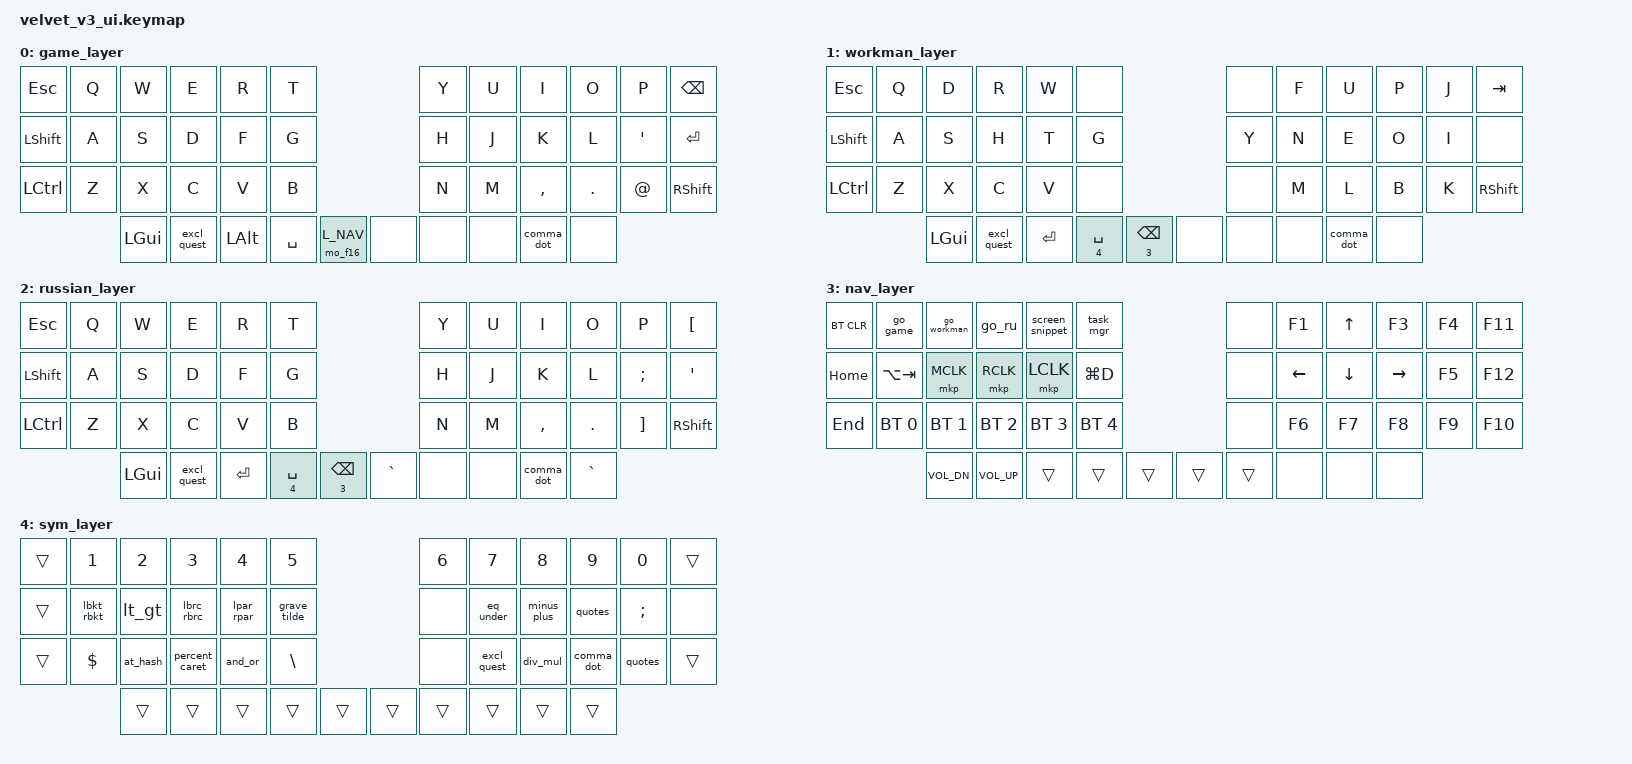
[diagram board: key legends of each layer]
#include "keys_ru.h"
#include <dt-bindings/zmk/input_transform.h>
#include <input/processors.dtsi>
#include <zephyr/dt-bindings/input/input-event-codes.h>
#include <behaviors.dtsi>
#include <dt-bindings/zmk/bt.h>
#include <dt-bindings/zmk/keys.h>
#include <dt-bindings/zmk/pointing.h>

#define L_GAME    0
#define L_WORKMAN 1
#define L_RU      2
#define L_NAV     3
#define L_SYM     4

/ {
    macros {
        go_game: go_game {
            compatible = "zmk,behavior-macro";
            #binding-cells = <0>;
            bindings = <&to L_GAME>, <&kp F13>;
        };

        go_workman: go_workman {
            compatible = "zmk,behavior-macro";
            #binding-cells = <0>;
            bindings = <&to L_WORKMAN>, <&kp F14>;
        };

        go_ru: go_ru {
            compatible = "zmk,behavior-macro";
            #binding-cells = <0>;
            bindings = <&to L_RU>, <&kp F15>;
        };

        screen_snippet: screen_snippet {
            compatible = "zmk,behavior-macro";
            #binding-cells = <0>;
            bindings = <&kp LG(LS(S))>;
        };

        task_mgr: task_mgr {
            compatible = "zmk,behavior-macro";
            #binding-cells = <0>;
            bindings = <&kp LC(LS(ESC))>;
        };

        mo_f16: mo_f16 {
            compatible = "zmk,behavior-macro-one-param";
            #binding-cells = <1>;
            bindings =
                <&macro_param_1to1>,
                <&macro_press &mo MACRO_PLACEHOLDER>,
                <&macro_press &kp F16>,
                <&macro_pause_for_release>,
                <&macro_param_1to1>,
                <&macro_release &mo MACRO_PLACEHOLDER>,
                <&macro_release &kp F16>;
        };

        mo_f17: mo_f17 {
            compatible = "zmk,behavior-macro-one-param";
            #binding-cells = <1>;
            bindings =
                <&macro_param_1to1>,
                <&macro_press &mo MACRO_PLACEHOLDER>,
                <&macro_press &kp F17>,
                <&macro_pause_for_release>,
                <&macro_param_1to1>,
                <&macro_release &mo MACRO_PLACEHOLDER>,
                <&macro_release &kp F17>;
        };
    };

    behaviors {
        nav_spc: nav_spc {
            compatible = "zmk,behavior-hold-tap";
            label = "NAV_SPC";
            bindings = <&mo_f16>, <&kp>;
            #binding-cells = <2>;
            tapping-term-ms = <200>;
            hold-while-undecided;
            flavor = "balanced";
        };

        sym_bspc: sym_bspc {
            compatible = "zmk,behavior-hold-tap";
            label = "SYM_BSPC";
            bindings = <&mo_f17>, <&kp>;
            #binding-cells = <2>;
            tapping-term-ms = <200>;
            hold-while-undecided;
            flavor = "balanced";
        };

        comma_dot: comma_dot {
            compatible = "zmk,behavior-mod-morph";
            label = "COMMA_DOT";
            bindings = <&kp COMMA>, <&kp DOT>;
            #binding-cells = <0>;
            mods = <(MOD_LSFT|MOD_RSFT)>;
        };

        excl_quest: excl_quest {
            compatible = "zmk,behavior-mod-morph";
            label = "EXCL_QUEST";
            bindings = <&kp EXCL>, <&kp QUESTION>;
            #binding-cells = <0>;
            mods = <(MOD_LSFT|MOD_RSFT)>;
        };

        lpar_rpar: lpar_rpar {
            compatible = "zmk,behavior-mod-morph";
            label = "LPAR_RPAR";
            bindings = <&kp LPAR>, <&kp RPAR>;
            #binding-cells = <0>;
            mods = <(MOD_LSFT|MOD_RSFT)>;
        };

        lbrc_rbrc: lbrc_rbrc {
            compatible = "zmk,behavior-mod-morph";
            label = "LBRC_RBRC";
            bindings = <&kp LBRC>, <&kp RBRC>;
            #binding-cells = <0>;
            mods = <(MOD_LSFT|MOD_RSFT)>;
        };

        lbkt_rbkt: lbkt_rbkt {
            compatible = "zmk,behavior-mod-morph";
            label = "LBKT_RBKT";
            bindings = <&kp LBKT>, <&kp RBKT>;
            #binding-cells = <0>;
            mods = <(MOD_LSFT|MOD_RSFT)>;
        };

        lt_gt: lt_gt {
            compatible = "zmk,behavior-mod-morph";
            label = "LT_GT";
            bindings = <&kp LT>, <&kp GT>;
            #binding-cells = <0>;
            mods = <(MOD_LSFT|MOD_RSFT)>;
        };

        eq_under: eq_under {
            compatible = "zmk,behavior-mod-morph";
            label = "EQ_UNDER";
            bindings = <&kp EQUAL>, <&kp UNDER>;
            #binding-cells = <0>;
            mods = <(MOD_LSFT|MOD_RSFT)>;
        };

        minus_plus: minus_plus {
            compatible = "zmk,behavior-mod-morph";
            label = "MINUS_PLUS";
            bindings = <&kp MINUS>, <&kp PLUS>;
            #binding-cells = <0>;
            mods = <(MOD_LSFT|MOD_RSFT)>;
        };

        div_mul: div_mul {
            compatible = "zmk,behavior-mod-morph";
            label = "DIV_MUL";
            bindings = <&kp SLASH>, <&kp ASTERISK>;
            #binding-cells = <0>;
            mods = <(MOD_LSFT|MOD_RSFT)>;
        };

        and_or: and_or {
            compatible = "zmk,behavior-mod-morph";
            label = "AND_OR";
            bindings = <&kp AMPS>, <&kp PIPE>;
            #binding-cells = <0>;
            mods = <(MOD_LSFT|MOD_RSFT)>;
        };

        quotes: quotes {
            compatible = "zmk,behavior-mod-morph";
            label = "QUOTES";
            bindings = <&kp SQT>, <&kp DOUBLE_QUOTES>;
            #binding-cells = <0>;
            mods = <(MOD_LSFT|MOD_RSFT)>;
        };

        at_hash: at_hash {
            compatible = "zmk,behavior-mod-morph";
            label = "AT_HASH";
            bindings = <&kp AT>, <&kp HASH>;
            #binding-cells = <0>;
            mods = <(MOD_LSFT|MOD_RSFT)>;
        };

        percent_caret: percent_caret {
            compatible = "zmk,behavior-mod-morph";
            label = "PERCENT_CARET";
            bindings = <&kp PRCNT>, <&kp CARET>;
            #binding-cells = <0>;
            mods = <(MOD_LSFT|MOD_RSFT)>;
        };

        grave_tilde: grave_tilde {
            compatible = "zmk,behavior-mod-morph";
            label = "GRAVE_TILDE";
            bindings = <&kp GRAVE>, <&kp TILDE>;
            #binding-cells = <0>;
            mods = <(MOD_LSFT|MOD_RSFT)>;
        };
    };

    keymap {
        compatible = "zmk,keymap";

        /* LAYER 0: GAME */
        game_layer {
            bindings = <
&kp ESC    &kp Q  &kp W         &kp E     &kp R     &kp T                            &kp Y      &kp U  &kp I        &kp O         &kp P        &kp BSPC
&kp LSHFT  &kp A  &kp S         &kp D     &kp F     &kp G                            &kp H      &kp J  &kp K        &kp L         &kp SQT      &kp ENTER
&kp LCTRL  &kp Z  &kp X         &kp C     &kp V     &kp B                            &kp N      &kp M  &kp COMMA    &kp DOT       &kp AT       &kp RSHFT
                  &kp LGUI      &excl_quest &kp LALT &kp SPACE &mo_f16 L_NAV  &none &none &none &comma_dot &none
            >;
        };

        /* LAYER 1: WORKMAN */
        workman_layer {
            bindings = <
&kp ESC    &kp Q  &kp D         &kp R     &kp W      &none                                          &none      &kp F  &kp U  &kp P  &kp J  &kp TAB
&kp LSHFT  &kp A  &kp S         &kp H     &kp T      &kp G                                          &kp Y      &kp N  &kp E  &kp O  &kp I  &none
&kp LCTRL  &kp Z  &kp X         &kp C     &kp V      &none                                          &none      &kp M  &kp L  &kp B  &kp K  &kp RSHFT
                  &kp LGUI      &excl_quest &kp ENTER &sym_bspc 4 SPACE &nav_spc 3 BSPC  &none &none &none &comma_dot &none
            >;
        };

        /* LAYER 2: RUSSIAN (Ё на первом правом большом пальце &kp GRAVE) */
        russian_layer {
            bindings = <
&kp ESC    &kp Q  &kp W         &kp E     &kp R      &kp T                                        &kp Y     &kp U  &kp I       &kp O    &kp P     &kp LBKT
&kp LSHFT  &kp A  &kp S         &kp D     &kp F      &kp G                                        &kp H     &kp J  &kp K       &kp L    &kp SEMI  &kp SQT
&kp LCTRL  &kp Z  &kp X         &kp C     &kp V      &kp B                                        &kp N     &kp M  &kp COMMA   &kp DOT  &kp RBKT  &kp RSHFT
                  &kp LGUI      &excl_quest &kp ENTER &sym_bspc 4 SPACE &nav_spc 3 BSPC  &kp GRAVE &none &none &comma_dot &kp GRAVE
            >;
        };

        /* LAYER 3: NAV */
        nav_layer {
            bindings = <
&bt BT_CLR  &go_game      &go_workman   &go_ru        &screen_snippet  &task_mgr                    &none    &kp F1    &kp UP    &kp F3     &kp F4  &kp F11
&kp HOME    &kp LA(TAB)   &mkp MCLK     &mkp RCLK     &mkp LCLK        &kp LG(D)                    &none    &kp LEFT  &kp DOWN  &kp RIGHT  &kp F5  &kp F12
&kp END     &bt BT_SEL 0  &bt BT_SEL 1  &bt BT_SEL 2  &bt BT_SEL 3     &bt BT_SEL 4                 &none    &kp F6    &kp F7    &kp F8     &kp F9  &kp F10
                          &kp C_VOL_DN  &kp C_VOL_UP  &trans           &trans     &trans    &trans  &trans   &none     &none     &none
            >;
        };

        /* LAYER 4: SYM */
        sym_layer {
            bindings = <
&trans  &kp N1      &kp N2      &kp N3          &kp N4          &kp N5                          &kp N6     &kp N7       &kp N8     &kp N9        &kp N0     &trans
&trans  &lbkt_rbkt  &lt_gt      &lbrc_rbrc      &lpar_rpar      &grave_tilde                    &none      &eq_under    &minus_plus &quotes     &kp SEMI   &none
&trans  &kp DLLR    &at_hash    &percent_caret  &and_or         &kp BSLH                        &none      &excl_quest  &div_mul   &comma_dot    &quotes    &trans
                    &trans      &trans          &trans          &trans        &trans    &trans  &trans     &trans       &trans     &trans
            >;
        };
    };
};
